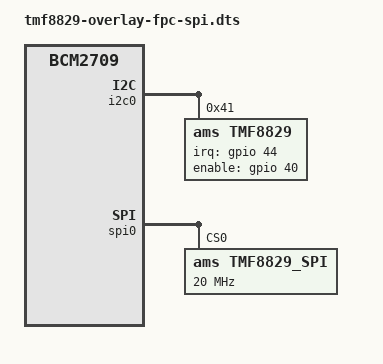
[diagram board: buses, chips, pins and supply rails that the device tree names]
/*
 ************************************************************************************
 * Copyright (c) [2025] ams-OSRAM AG                                                *
 *                                                                                  *
 * SPDX-License-Identifier: GPL-2.0 OR MIT                                          *
 *                                                                                  *
 * For the full license texts, see LICENSES-GPL-2.0.txt or LICENSES-MIT.TXT.        *
 ************************************************************************************
*/

/* Definitions for tmf8829 time-of-flight sensor from ams AG
 *
 * Compile:
 * dtc -@ -I dts -O dtb -o tmf8829-overlay-fpc-spi.dtbo tmf8829-overlay-fpc-spi.dts
 */

/dts-v1/;
/plugin/;

/ {
  compatible = "brcm,bcm2835","brcm,bcm2708","brcm,bcm2709";

  fragment@0 {
    target = <&i2c0>;
    __overlay__ {
      status = "okay";
    };
  };

  fragment@1 {
    target = <&gpio>;
    __overlay__ {
      tmf8829_pins: tmf8829_pins {
        brcm,pins = <44 40>; /*interrupt (CAM_IO0->GPIO44), enable (CAM_IO1->GPIO40)*/
        brcm,function = <0 1>; /*INT input, enable output*/
        brcm,pull = <0 0>; /*disable pull on INT, enable pull-down on CE*/
      };
    };
  };

  fragment@2 {
    target = <&i2c0>;
    __overlay__ {
      #address-cells = <1>;
      #size-cells = <0>;
      status = "okay";

      tmf8829: tmf8829@41 {
        compatible = "ams,tmf8829";
        reg = <0x41>; /* x41 for HW */
        pinctrl-names = "default";
        pinctrl-0 = <&tmf8829_pins>;
        interrupt-parent = <&gpio>;
        interrupts = <44 8>; /*high-to-low trigger*/
        irq-gpios = <&gpio 44 0>; /* CAM_GPIO0 on header*/
        enable-gpios = <&gpio 40 0>; /* CAM_GPIO1 on header*/
      };
    };
  };

fragment@3 {
        target = <&spidev0>;
        __overlay__ {
            status = "disabled";
        };
    };  
fragment@4 {
    target = <&spidev1>;
    __overlay__ {
        status = "disabled";
    };
};

  fragment@5 {
    target = <&spi0>;
    __overlay__ {
      #address-cells = <1>;
      #size-cells = <0>;
      status = "okay";

      tmf8829_spi@0 {
        compatible = "ams,tmf8829_spi";
        reg = <0>;
        spi-max-frequency = <20000000>;
      };
    };
  };
  __overrides__ {
    tof_interrupt = <&tmf8829_pins>,"brcm,pins:0",
        <&tmf8829>,"interrupts:0",
        <&tmf8829>,"irq-gpios:4";
    tof_interrupt_trigger = <&tmf8829>,"interrupts:4";
    tof_enable = <&tmf8829_pins>,"brcm,pins:4",
        <&tmf8829>,"enable-gpios:4";
    tof_i2c_addr = <&tmf8829>,"reg:0";
  };
};

